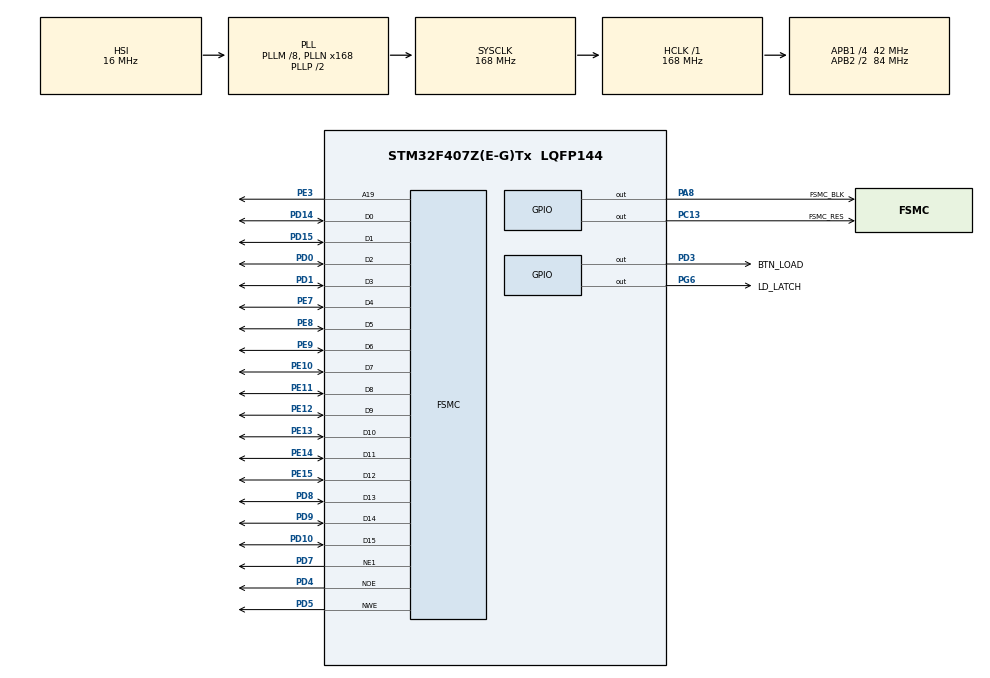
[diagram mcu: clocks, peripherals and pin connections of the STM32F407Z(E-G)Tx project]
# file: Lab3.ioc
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FSMC.AddressSetupTime1=0xf
FSMC.BusTurnAroundDuration1=0
FSMC.DataSetupTime1=60
FSMC.ExtendedAddressSetupTime1=8
FSMC.ExtendedBusTurnAroundDuration1=0
FSMC.ExtendedDataSetupTime1=9
FSMC.ExtendedMode1=FSMC_EXTENDED_MODE_ENABLE
Mcu.Family=STM32F4
Mcu.Name=STM32F407Z(E-G)Tx
Mcu.Package=LQFP144
NVIC.PriorityGroup=NVIC_PRIORITYGROUP_4
PA13.Mode=Serial_Wire
PA13.Signal=SYS_JTMS-SWDIO
PA14.Mode=Serial_Wire
PA14.Signal=SYS_JTCK-SWCLK
PA8.GPIO_Label=FSMC_BLK
PA8.Signal=GPIO_Output
PB3.Signal=SPI1_SCK
PB4.Signal=SPI1_MISO
PB5.Signal=SPI1_MOSI
PC13-ANTI_TAMP.GPIO_Label=FSMC_RES
PC13-ANTI_TAMP.Signal=GPIO_Output
PD0.Signal=FSMC_D2_DA2
PD1.Signal=FSMC_D3_DA3
PD10.Signal=FSMC_D15_DA15
PD14.Signal=FSMC_D0_DA0
PD15.Signal=FSMC_D1_DA1
PD3.GPIO_Label=BTN_LOAD
PD3.Signal=GPIO_Output
PD4.Signal=FSMC_NOE
PD5.Signal=FSMC_NWE
PD7.Mode=NorPsramChipSelect1_1
PD7.Signal=FSMC_NE1
PD8.Signal=FSMC_D13_DA13
PD9.Signal=FSMC_D14_DA14
PE10.Signal=FSMC_D7_DA7
PE11.Signal=FSMC_D8_DA8
PE12.Signal=FSMC_D9_DA9
PE13.Signal=FSMC_D10_DA10
PE14.Signal=FSMC_D11_DA11
PE15.Signal=FSMC_D12_DA12
PE3.Signal=FSMC_A19
PE7.Signal=FSMC_D4_DA4
PE8.Signal=FSMC_D5_DA5
PE9.Signal=FSMC_D6_DA6
PG6.GPIO_Label=LD_LATCH
PG6.Signal=GPIO_Output
PH0-OSC_IN.Mode=HSE-External-Oscillator
PH0-OSC_IN.Signal=RCC_OSC_IN
PH1-OSC_OUT.Mode=HSE-External-Oscillator
PH1-OSC_OUT.Signal=RCC_OSC_OUT
ProjectManager.HeapSize=0x200
ProjectManager.StackSize=0x400
ProjectManager.TargetToolchain=STM32CubeIDE
RCC.48MHZClocksFreq_Value=84000000
RCC.AHBFreq_Value=168000000
RCC.APB1CLKDivider=RCC_HCLK_DIV4
RCC.APB1Freq_Value=42000000
RCC.APB1TimFreq_Value=84000000
RCC.APB2CLKDivider=RCC_HCLK_DIV2
RCC.APB2Freq_Value=84000000
RCC.APB2TimFreq_Value=168000000
RCC.CortexFreq_Value=168000000
RCC.HCLKFreq_Value=168000000
RCC.HSE_VALUE=8000000
RCC.HSI_VALUE=16000000
RCC.LSE_VALUE=32768
RCC.PLLM=8
RCC.PLLN=168
RCC.SYSCLKFreq_VALUE=168000000
RCC.SYSCLKSource=RCC_SYSCLKSOURCE_PLLCLK
RCC.VCOOutputFreq_Value=336000000
SH.FSMC_A19.0=FSMC_A19,A19_1
SH.FSMC_D0_DA0.0=FSMC_D0,16b-d1
SH.FSMC_D10_DA10.0=FSMC_D10,16b-d1
SH.FSMC_D11_DA11.0=FSMC_D11,16b-d1
SH.FSMC_D12_DA12.0=FSMC_D12,16b-d1
SH.FSMC_D13_DA13.0=FSMC_D13,16b-d1
SH.FSMC_D14_DA14.0=FSMC_D14,16b-d1
SH.FSMC_D15_DA15.0=FSMC_D15,16b-d1
SH.FSMC_D1_DA1.0=FSMC_D1,16b-d1
SH.FSMC_D2_DA2.0=FSMC_D2,16b-d1
SH.FSMC_D3_DA3.0=FSMC_D3,16b-d1
SH.FSMC_D4_DA4.0=FSMC_D4,16b-d1
SH.FSMC_D5_DA5.0=FSMC_D5,16b-d1
SH.FSMC_D6_DA6.0=FSMC_D6,16b-d1
SH.FSMC_D7_DA7.0=FSMC_D7,16b-d1
SH.FSMC_D8_DA8.0=FSMC_D8,16b-d1
SH.FSMC_D9_DA9.0=FSMC_D9,16b-d1
SH.FSMC_NOE.0=FSMC_NOE,Lcd1
SH.FSMC_NWE.0=FSMC_NWE,Lcd1
board=custom

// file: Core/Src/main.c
/* USER CODE BEGIN Header */
/**
  ******************************************************************************
  * @file           : main.c
  * @brief          : Main program body
  ******************************************************************************
  * @attention
  *
  * Copyright (c) 2024 STMicroelectronics.
  * All rights reserved.
  *
  * This software is licensed under terms that can be found in the LICENSE file
  * in the root directory of this software component.
  * If no LICENSE file comes with this software, it is provided AS-IS.
  *
  ******************************************************************************
  */
/* USER CODE END Header */
#include "main.h"

/* USER CODE BEGIN Includes */
#include "button.h"
#include "lcd.h"
#include "software_timer.h"
/* USER CODE END Includes */

/* USER CODE BEGIN PTD */
typedef enum {
    MODE_NORMAL,
    MODE_ADJUST_RED,
    MODE_ADJUST_GREEN,
    MODE_ADJUST_YELLOW
} TrafficLightMode;

TrafficLightMode current_mode = MODE_NORMAL;
uint8_t red_cycle = 10, green_cycle = 10, yellow_cycle = 5; // Default durations

/* USER CODE END PTD */

SRAM_HandleTypeDef hsram1;

void SystemClock_Config(void);
static void MX_GPIO_Init(void);
static void MX_FSMC_Init(void);
/* USER CODE BEGIN PFP */
void system_init() {
    button_init();
    lcd_init();
    setTimer2(50); // 50ms timer
}

void display_status(const char* message, uint16_t fc, uint16_t bc) {
    lcd_Clear(bc);
    lcd_ShowStr(10, 10, (char*)message, fc, bc, 16, 0);
}
/* USER CODE END PFP */

/* USER CODE BEGIN 0 */
void handle_buttons() {
    if (button_count[0] == 1) { // Button 1: Switch Mode
        current_mode = (current_mode + 1) % 4; // Cycle through modes
    }

    if (current_mode != MODE_NORMAL) {
        if (button_count[1] == 1) { // Button 2: Adjust duration
            switch (current_mode) {
                case MODE_ADJUST_RED: red_cycle++; break;
                case MODE_ADJUST_GREEN: green_cycle++; break;
                case MODE_ADJUST_YELLOW: yellow_cycle++; break;
            }
        }
        if (button_count[2] == 1) { // Button 3: Confirm
            // Confirm adjustment and return to NORMAL
            current_mode = MODE_NORMAL;
        }
    }
}

void normal_mode() {
    static uint8_t counter = 0;

    // Simulate traffic light cycles
    if (counter < red_cycle) {
        display_status("Red Light", RED, BLACK);
    } else if (counter < red_cycle + green_cycle) {
        display_status("Green Light", GREEN, BLACK);
    } else {
        display_status("Yellow Light", YELLOW, BLACK);
    }

    counter = (counter + 1) % (red_cycle + green_cycle + yellow_cycle);
}

void adjustment_mode() {
    char buffer[32];
    switch (current_mode) {
        case MODE_ADJUST_RED:
            snprintf(buffer, 32, "Adjust Red: %d", red_cycle);
            display_status(buffer, RED, BLACK);
            break;
        case MODE_ADJUST_GREEN:
            snprintf(buffer, 32, "Adjust Green: %d", green_cycle);
            display_status(buffer, GREEN, BLACK);
            break;
        case MODE_ADJUST_YELLOW:
            snprintf(buffer, 32, "Adjust Yellow: %d", yellow_cycle);
            display_status(buffer, YELLOW, BLACK);
            break;
    }
}
/* USER CODE END 0 */

int main(void)
{

  /* MCU Configuration--------------------------------------------------------*/

  /* Reset of all peripherals, Initializes the Flash interface and the Systick. */
  HAL_Init();

  /* USER CODE BEGIN Init */
  system_init();
  lcd_Clear(BLACK);
  /* USER CODE END Init */

  /* Configure the system clock */
  SystemClock_Config();

  /* Initialize all configured peripherals */
  MX_GPIO_Init();
  MX_FSMC_Init();

  /* Infinite loop */
  while (1)
  {
	    system_init();
	    lcd_Clear(BLACK);

	    while (1) {
	        while (!flag_timer2);
	        flag_timer2 = 0;

	        button_Scan();
	        handle_buttons();

	        if (current_mode == MODE_NORMAL) {
	            normal_mode();
	        } else {
	            adjustment_mode();
	        }
	    }
  }
}

void SystemClock_Config(void)
{
  RCC_OscInitTypeDef RCC_OscInitStruct = {0};
  RCC_ClkInitTypeDef RCC_ClkInitStruct = {0};

  /** Configure the main internal regulator output voltage
  */
  __HAL_RCC_PWR_CLK_ENABLE();
  __HAL_PWR_VOLTAGESCALING_CONFIG(PWR_REGULATOR_VOLTAGE_SCALE1);

  /** Initializes the RCC Oscillators according to the specified parameters
  * in the RCC_OscInitTypeDef structure.
  */
  RCC_OscInitStruct.OscillatorType = RCC_OSCILLATORTYPE_HSI;
  RCC_OscInitStruct.HSIState = RCC_HSI_ON;
  RCC_OscInitStruct.HSICalibrationValue = RCC_HSICALIBRATION_DEFAULT;
  RCC_OscInitStruct.PLL.PLLState = RCC_PLL_ON;
  RCC_OscInitStruct.PLL.PLLSource = RCC_PLLSOURCE_HSI;
  RCC_OscInitStruct.PLL.PLLM = 8;
  RCC_OscInitStruct.PLL.PLLN = 168;
  RCC_OscInitStruct.PLL.PLLP = RCC_PLLP_DIV2;
  RCC_OscInitStruct.PLL.PLLQ = 4;
  if (HAL_RCC_OscConfig(&RCC_OscInitStruct) != HAL_OK)
  {
    Error_Handler();
  }

  /** Initializes the CPU, AHB and APB buses clocks
  */
  RCC_ClkInitStruct.ClockType = RCC_CLOCKTYPE_HCLK|RCC_CLOCKTYPE_SYSCLK
                              |RCC_CLOCKTYPE_PCLK1|RCC_CLOCKTYPE_PCLK2;
  RCC_ClkInitStruct.SYSCLKSource = RCC_SYSCLKSOURCE_PLLCLK;
  RCC_ClkInitStruct.AHBCLKDivider = RCC_SYSCLK_DIV1;
  RCC_ClkInitStruct.APB1CLKDivider = RCC_HCLK_DIV4;
  RCC_ClkInitStruct.APB2CLKDivider = RCC_HCLK_DIV2;

  if (HAL_RCC_ClockConfig(&RCC_ClkInitStruct, FLASH_LATENCY_5) != HAL_OK)
  {
    Error_Handler();
  }
}

static void MX_GPIO_Init(void)
{
  GPIO_InitTypeDef GPIO_InitStruct = {0};

  /* GPIO Ports Clock Enable */
  __HAL_RCC_GPIOE_CLK_ENABLE();
  __HAL_RCC_GPIOC_CLK_ENABLE();
  __HAL_RCC_GPIOH_CLK_ENABLE();
  __HAL_RCC_GPIOD_CLK_ENABLE();
  __HAL_RCC_GPIOG_CLK_ENABLE();
  __HAL_RCC_GPIOA_CLK_ENABLE();
  __HAL_RCC_GPIOB_CLK_ENABLE();

  /*Configure GPIO pin Output Level */
  HAL_GPIO_WritePin(FSMC_RES_GPIO_Port, FSMC_RES_Pin, GPIO_PIN_RESET);

  /*Configure GPIO pin Output Level */
  HAL_GPIO_WritePin(LD_LATCH_GPIO_Port, LD_LATCH_Pin, GPIO_PIN_RESET);

  /*Configure GPIO pin Output Level */
  HAL_GPIO_WritePin(FSMC_BLK_GPIO_Port, FSMC_BLK_Pin, GPIO_PIN_RESET);

  /*Configure GPIO pin Output Level */
  HAL_GPIO_WritePin(BTN_LOAD_GPIO_Port, BTN_LOAD_Pin, GPIO_PIN_RESET);

  /*Configure GPIO pin : FSMC_RES_Pin */
  GPIO_InitStruct.Pin = FSMC_RES_Pin;
  GPIO_InitStruct.Mode = GPIO_MODE_OUTPUT_PP;
  GPIO_InitStruct.Pull = GPIO_NOPULL;
  GPIO_InitStruct.Speed = GPIO_SPEED_FREQ_LOW;
  HAL_GPIO_Init(FSMC_RES_GPIO_Port, &GPIO_InitStruct);

  /*Configure GPIO pin : LD_LATCH_Pin */
  GPIO_InitStruct.Pin = LD_LATCH_Pin;
  GPIO_InitStruct.Mode = GPIO_MODE_OUTPUT_PP;
  GPIO_InitStruct.Pull = GPIO_NOPULL;
  GPIO_InitStruct.Speed = GPIO_SPEED_FREQ_LOW;
  HAL_GPIO_Init(LD_LATCH_GPIO_Port, &GPIO_InitStruct);

  /*Configure GPIO pin : FSMC_BLK_Pin */
  GPIO_InitStruct.Pin = FSMC_BLK_Pin;
  GPIO_InitStruct.Mode = GPIO_MODE_OUTPUT_PP;
  GPIO_InitStruct.Pull = GPIO_NOPULL;
  GPIO_InitStruct.Speed = GPIO_SPEED_FREQ_LOW;
  HAL_GPIO_Init(FSMC_BLK_GPIO_Port, &GPIO_InitStruct);

  /*Configure GPIO pin : BTN_LOAD_Pin */
  GPIO_InitStruct.Pin = BTN_LOAD_Pin;
  GPIO_InitStruct.Mode = GPIO_MODE_OUTPUT_PP;
  GPIO_InitStruct.Pull = GPIO_NOPULL;
  GPIO_InitStruct.Speed = GPIO_SPEED_FREQ_LOW;
  HAL_GPIO_Init(BTN_LOAD_GPIO_Port, &GPIO_InitStruct);

  /*Configure GPIO pins : PB3 PB4 PB5 */
  GPIO_InitStruct.Pin = GPIO_PIN_3|GPIO_PIN_4|GPIO_PIN_5;
  GPIO_InitStruct.Mode = GPIO_MODE_AF_PP;
  GPIO_InitStruct.Pull = GPIO_NOPULL;
  GPIO_InitStruct.Speed = GPIO_SPEED_FREQ_VERY_HIGH;
  GPIO_InitStruct.Alternate = GPIO_AF5_SPI1;
  HAL_GPIO_Init(GPIOB, &GPIO_InitStruct);

}

/* FSMC initialization function */
static void MX_FSMC_Init(void)
{

  FSMC_NORSRAM_TimingTypeDef Timing = {0};
  FSMC_NORSRAM_TimingTypeDef ExtTiming = {0};

  /** Perform the SRAM1 memory initialization sequence
  */
  hsram1.Instance = FSMC_NORSRAM_DEVICE;
  hsram1.Extended = FSMC_NORSRAM_EXTENDED_DEVICE;
  /* hsram1.Init */
  hsram1.Init.NSBank = FSMC_NORSRAM_BANK1;
  hsram1.Init.DataAddressMux = FSMC_DATA_ADDRESS_MUX_DISABLE;
  hsram1.Init.MemoryType = FSMC_MEMORY_TYPE_SRAM;
  hsram1.Init.MemoryDataWidth = FSMC_NORSRAM_MEM_BUS_WIDTH_16;
  hsram1.Init.BurstAccessMode = FSMC_BURST_ACCESS_MODE_DISABLE;
  hsram1.Init.WaitSignalPolarity = FSMC_WAIT_SIGNAL_POLARITY_LOW;
  hsram1.Init.WrapMode = FSMC_WRAP_MODE_DISABLE;
  hsram1.Init.WaitSignalActive = FSMC_WAIT_TIMING_BEFORE_WS;
  hsram1.Init.WriteOperation = FSMC_WRITE_OPERATION_ENABLE;
  hsram1.Init.WaitSignal = FSMC_WAIT_SIGNAL_DISABLE;
  hsram1.Init.ExtendedMode = FSMC_EXTENDED_MODE_ENABLE;
  hsram1.Init.AsynchronousWait = FSMC_ASYNCHRONOUS_WAIT_DISABLE;
  hsram1.Init.WriteBurst = FSMC_WRITE_BURST_DISABLE;
  hsram1.Init.PageSize = FSMC_PAGE_SIZE_NONE;
  /* Timing */
  Timing.AddressSetupTime = 0xf;
  Timing.AddressHoldTime = 15;
  Timing.DataSetupTime = 60;
  Timing.BusTurnAroundDuration = 0;
  Timing.CLKDivision = 16;
  Timing.DataLatency = 17;
  Timing.AccessMode = FSMC_ACCESS_MODE_A;
  /* ExtTiming */
  ExtTiming.AddressSetupTime = 8;
  ExtTiming.AddressHoldTime = 15;
  ExtTiming.DataSetupTime = 9;
  ExtTiming.BusTurnAroundDuration = 0;
  ExtTiming.CLKDivision = 16;
  ExtTiming.DataLatency = 17;
  ExtTiming.AccessMode = FSMC_ACCESS_MODE_A;

  if (HAL_SRAM_Init(&hsram1, &Timing, &ExtTiming) != HAL_OK)
  {
    Error_Handler( );
  }

}

void Error_Handler(void)
{
  __disable_irq();
  while (1)
  {
  }
}
